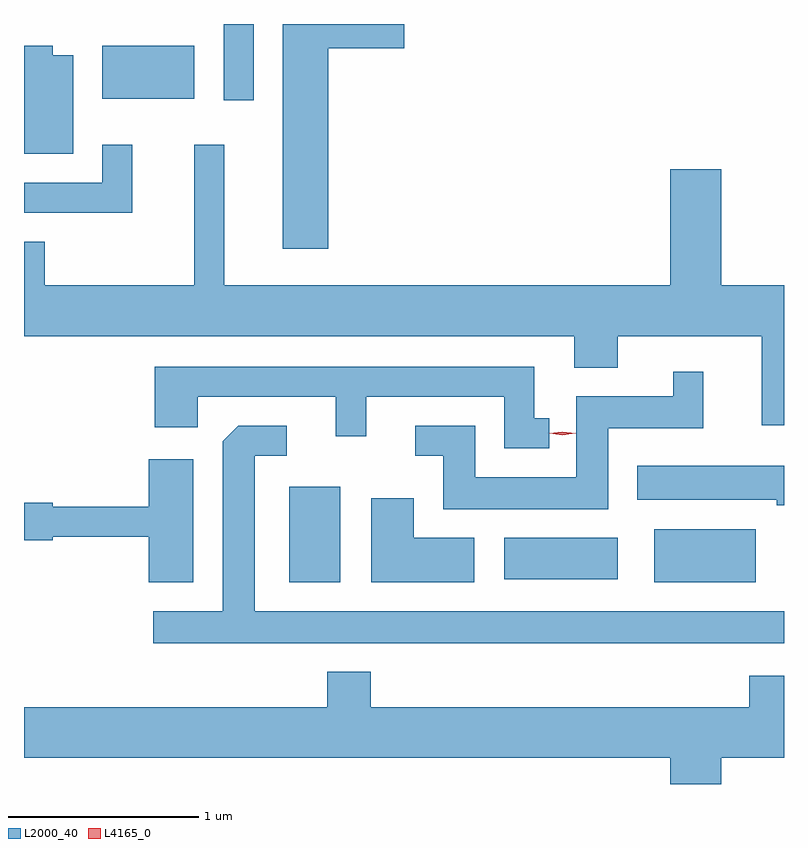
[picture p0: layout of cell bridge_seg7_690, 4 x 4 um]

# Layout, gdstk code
import gdstk
lib = gdstk.Library(unit=1e-6, precision=1e-09)
def R(c, l, rs):  # rectangles x0, y0, x1, y1
    for r in rs: c.add(gdstk.rectangle(r[:2], r[2:], *l))
def P(c, l, *ps):  # polygons
    for p in ps: c.add(gdstk.Polygon(p, *l))
L2000_40 = (2000, 40)
L4165_0 = (4165, 0)

bridge_seg7_690 = lib.new_cell('bridge_seg7_690')
R(bridge_seg7_690, L2000_40, [(912.371,1717.461,912.639,1717.964), (914.291,1717.461,914.824,1717.739), (913.501,1717.476,914.099,1717.694), (912.026,1719.998,912.184,1720.399), (911.386,1720.006,911.869,1720.284)])
P(bridge_seg7_690, L2000_40, [(912.574,1720.271),(912.974,1720.271),(912.974,1720.399),(912.336,1720.399),(912.336,1719.216),(912.574,1719.216)],
  [(911.234,1720.234),(911.124,1720.234),(911.124,1720.284),(910.974,1720.284),(910.974,1719.716),(911.234,1719.716)],
  [(914.974,1719.024),(914.644,1719.024),(914.644,1719.634),(914.376,1719.634),(914.376,1719.024),(912.029,1719.024),(912.029,1719.763),(911.871,1719.763),(911.871,1719.024),(911.084,1719.024),(911.084,1719.254),(910.974,1719.254),(910.974,1718.756),(913.871,1718.756),(913.871,1718.591),(914.099,1718.591),(914.099,1718.756),(914.856,1718.756),(914.856,1718.288),(914.974,1718.288)],
  [(911.544,1719.763),(911.386,1719.763),(911.386,1719.564),(910.974,1719.564),(910.974,1719.406),(911.544,1719.406)],
  [(913.738,1718.324),(913.659,1718.324),(913.659,1718.594),(911.661,1718.594),(911.661,1718.276),(911.889,1718.276),(911.889,1718.436),(912.616,1718.436),(912.616,1718.228),(912.774,1718.228),(912.774,1718.436),(913.501,1718.436),(913.501,1718.166),(913.738,1718.166)],
  [(914.049,1718.271),(914.549,1718.271),(914.549,1718.568),(914.391,1718.568),(914.391,1718.439),(913.881,1718.439),(913.881,1718.014),(913.349,1718.014),(913.349,1718.284),(913.033,1718.284),(913.033,1718.126),(913.181,1718.126),(913.181,1717.846),(914.049,1717.846)],
  [(914.974,1717.309),(912.189,1717.309),(912.189,1718.126),(912.358,1718.126),(912.358,1718.284),(912.102,1718.284),(912.021,1718.204),(912.021,1717.309),(911.653,1717.309),(911.653,1717.141),(914.974,1717.141)],
  [(911.864,1718.109),(911.631,1718.109),(911.631,1717.859),(911.124,1717.859),(911.124,1717.879),(910.974,1717.879),(910.974,1717.681),(911.124,1717.681),(911.124,1717.701),(911.631,1717.701),(911.631,1717.461),(911.864,1717.461)],
  [(914.974,1718.074),(914.201,1718.074),(914.201,1717.896),(914.936,1717.896),(914.936,1717.866),(914.974,1717.866)],
  [(913.344,1717.694),(913.024,1717.694),(913.024,1717.904),(912.801,1717.904),(912.801,1717.461),(913.344,1717.461)],
  [(914.644,1716.536),(914.974,1716.536),(914.974,1716.969),(914.791,1716.969),(914.791,1716.804),(912.799,1716.804),(912.799,1716.989),(912.571,1716.989),(912.571,1716.804),(910.974,1716.804),(910.974,1716.536),(914.376,1716.536),(914.376,1716.399),(914.644,1716.399)])
P(bridge_seg7_690, L4165_0, [(913.808,1718.234),(913.739,1718.244),(913.739,1718.244),(913.739,1718.245),(913.808,1718.254),(913.878,1718.245),(913.878,1718.244),(913.878,1718.244)])

lib.write_gds('bridge_seg7_690.gds')
